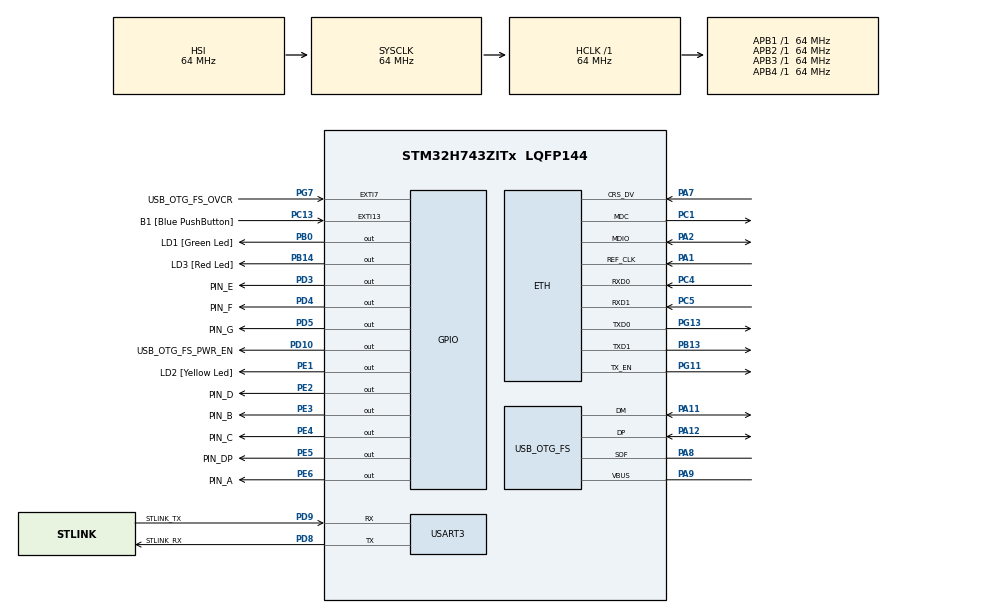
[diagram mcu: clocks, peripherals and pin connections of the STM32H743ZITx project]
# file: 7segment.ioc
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ETH.MediaInterface=HAL_ETH_RMII_MODE
Mcu.Family=STM32H7
Mcu.Name=STM32H743ZITx
Mcu.Package=LQFP144
NVIC.EXTI15_10_IRQn=true\:0\:0\:false\:false\:true\:true\:true\:true
NVIC.EXTI9_5_IRQn=true\:0\:0\:false\:false\:true\:true\:true\:true
NVIC.PriorityGroup=NVIC_PRIORITYGROUP_4
PA1.Mode=RMII
PA1.Signal=ETH_REF_CLK
PA11.Mode=Device_Only
PA11.Signal=USB_OTG_FS_DM
PA12.Mode=Device_Only
PA12.Signal=USB_OTG_FS_DP
PA2.Mode=RMII
PA2.Signal=ETH_MDIO
PA7.Mode=RMII
PA7.Signal=ETH_CRS_DV
PA8.Mode=Activate_SOF_FS
PA8.Signal=USB_OTG_FS_SOF
PA9.Mode=Activate_VBUS
PA9.Signal=USB_OTG_FS_VBUS
PB0.GPIO_Label=LD1 [Green Led]
PB0.Signal=GPIO_Output
PB13.Mode=RMII
PB13.Signal=ETH_TXD1
PB14.GPIO_Label=LD3 [Red Led]
PB14.Signal=GPIO_Output
PC1.Mode=RMII
PC1.Signal=ETH_MDC
PC13.GPIO_Label=B1 [Blue PushButton]
PC13.GPIO_ModeDefaultEXTI=GPIO_MODE_IT_FALLING
PC13.Signal=GPXTI13
PC14-OSC32_IN\ (OSC32_IN).Mode=LSE-External-Oscillator
PC14-OSC32_IN\ (OSC32_IN).Signal=RCC_OSC32_IN
PC15-OSC32_OUT\ (OSC32_OUT).Mode=LSE-External-Oscillator
PC15-OSC32_OUT\ (OSC32_OUT).Signal=RCC_OSC32_OUT
PC4.Mode=RMII
PC4.Signal=ETH_RXD0
PC5.Mode=RMII
PC5.Signal=ETH_RXD1
PD10.GPIO_Label=USB_OTG_FS_PWR_EN
PD10.Signal=GPIO_Output
PD3.GPIO_Label=PIN_E
PD3.Signal=GPIO_Output
PD4.GPIO_Label=PIN_F
PD4.Signal=GPIO_Output
PD5.GPIO_Label=PIN_G
PD5.Signal=GPIO_Output
PD8.GPIO_Label=STLINK_RX
PD8.Mode=Asynchronous
PD8.Signal=USART3_TX
PD9.GPIO_Label=STLINK_TX
PD9.Mode=Asynchronous
PD9.Signal=USART3_RX
PE1.GPIO_Label=LD2 [Yellow Led]
PE1.Signal=GPIO_Output
PE2.GPIO_Label=PIN_D
PE2.Signal=GPIO_Output
PE3.GPIO_Label=PIN_B
PE3.Signal=GPIO_Output
PE4.GPIO_Label=PIN_C
PE4.Signal=GPIO_Output
PE5.GPIO_Label=PIN_DP
PE5.Signal=GPIO_Output
PE6.GPIO_Label=PIN_A
PE6.Signal=GPIO_Output
PG11.Mode=RMII
PG11.Signal=ETH_TX_EN
PG13.Mode=RMII
PG13.Signal=ETH_TXD0
PG7.GPIO_Label=USB_OTG_FS_OVCR
PG7.Signal=GPXTI7
PH0-OSC_IN\ (PH0).Mode=HSE-External-Clock-Source
PH0-OSC_IN\ (PH0).Signal=RCC_OSC_IN
PH1-OSC_OUT\ (PH1).Signal=RCC_OSC_OUT
ProjectManager.HeapSize=0x200
ProjectManager.StackSize=0x400
ProjectManager.TargetToolchain=STM32CubeIDE
RCC.ADCFreq_Value=16125000
RCC.APB1Freq_Value=64000000
RCC.APB2Freq_Value=64000000
RCC.APB3Freq_Value=64000000
RCC.APB4Freq_Value=64000000
RCC.CortexFreq_Value=64000000
RCC.DIVM1=1
RCC.DIVN1=24
RCC.DIVQ1=4
RCC.HCLKFreq_Value=64000000
RCC.HSE_VALUE=8000000
RCC.PLLFRACN=0
RCC.PWR_Regulator_Voltage_Scale=PWR_REGULATOR_VOLTAGE_SCALE2
RCC.SYSCLKFreq_VALUE=64000000
RCC.USBFreq_Value=48000000
USART3.VirtualMode-Asynchronous=VM_ASYNC
USB_OTG_FS.VirtualMode=Device_Only
VP_MEMORYMAP_VS_MEMORYMAP.Mode=CurAppReg
board=NUCLEO-H743ZI2

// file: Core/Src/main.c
/* USER CODE BEGIN Header */
/**
  ******************************************************************************
  * @file           : main.c
  * @brief          : Main program body
  ******************************************************************************
  * @attention
  *
  * Copyright (c) 2024 STMicroelectronics.
  * All rights reserved.
  *
  * This software is licensed under terms that can be found in the LICENSE file
  * in the root directory of this software component.
  * If no LICENSE file comes with this software, it is provided AS-IS.
  *
  ******************************************************************************
  */
/* USER CODE END Header */
#include "main.h"
#include "string.h"

/* USER CODE BEGIN Includes */

//Pin connection
#define SEG_A_PIN GPIO_PIN_6
#define SEG_B_PIN GPIO_PIN_3
#define SEG_C_PIN GPIO_PIN_4
#define SEG_D_PIN GPIO_PIN_2
#define SEG_DP_PIN GPIO_PIN_5
#define SEG_E_PIN GPIO_PIN_3
#define SEG_F_PIN GPIO_PIN_4
#define SEG_G_PIN GPIO_PIN_5

//Used ports of STM32
#define SEG_GPIO_PORT_E GPIOE
#define SEG_GPIO_PORT_D GPIOD

//Binary map for each number 0-9
const uint8_t segmentMap[10] = {
    0b00111111, // 0
    0b00000110, // 1
    0b01011011, // 2
    0b01001111, // 3
    0b01100110, // 4
    0b01101101, // 5
    0b01111101, // 6
    0b00000111, // 7
    0b01111111, // 8
    0b01101111  // 9
};

//Number of B1 BluePush button press
uint8_t i = 0;

/* USER CODE END Includes */

#if defined ( __ICCARM__ ) /*!< IAR Compiler */
#pragma location=0x30000000
ETH_DMADescTypeDef  DMARxDscrTab[ETH_RX_DESC_CNT]; /* Ethernet Rx DMA Descriptors */
#pragma location=0x30000080
ETH_DMADescTypeDef  DMATxDscrTab[ETH_TX_DESC_CNT]; /* Ethernet Tx DMA Descriptors */

#elif defined ( __CC_ARM )  /* MDK ARM Compiler */

__attribute__((at(0x30000000))) ETH_DMADescTypeDef  DMARxDscrTab[ETH_RX_DESC_CNT]; /* Ethernet Rx DMA Descriptors */
__attribute__((at(0x30000080))) ETH_DMADescTypeDef  DMATxDscrTab[ETH_TX_DESC_CNT]; /* Ethernet Tx DMA Descriptors */

#elif defined ( __GNUC__ ) /* GNU Compiler */

ETH_DMADescTypeDef DMARxDscrTab[ETH_RX_DESC_CNT] __attribute__((section(".RxDecripSection"))); /* Ethernet Rx DMA Descriptors */
ETH_DMADescTypeDef DMATxDscrTab[ETH_TX_DESC_CNT] __attribute__((section(".TxDecripSection")));   /* Ethernet Tx DMA Descriptors */
#endif

ETH_TxPacketConfig TxConfig;

ETH_HandleTypeDef heth;

UART_HandleTypeDef huart3;

PCD_HandleTypeDef hpcd_USB_OTG_FS;

void SystemClock_Config(void);
static void MX_GPIO_Init(void);
static void MX_ETH_Init(void);
static void MX_USART3_UART_Init(void);
static void MX_USB_OTG_FS_PCD_Init(void);

/* USER CODE BEGIN 0 */

//Funtion for print the correct number
void displayNumber(uint8_t number) {
    if (number > 9) return;

    //In segments is right segment combination for the number.
    uint8_t segments = segmentMap[number];
    /*
     * (segments & 0x01) 	- mask
     * ? GPIO_PIN_SET		- if (segments & 0x01) is True (first bit in segments is 1) set pin to GPIO_PIN_SET
     * 						- if (segments & 0x01) is False (first bit in segments is 0) set pin to GPIO_PIN_RESET
     */
    HAL_GPIO_WritePin(SEG_GPIO_PORT_E, SEG_A_PIN, (segments & 0x01) ? GPIO_PIN_SET : GPIO_PIN_RESET);
    HAL_GPIO_WritePin(SEG_GPIO_PORT_E, SEG_B_PIN, (segments & 0x02) ? GPIO_PIN_SET : GPIO_PIN_RESET);
    HAL_GPIO_WritePin(SEG_GPIO_PORT_E, SEG_C_PIN, (segments & 0x04) ? GPIO_PIN_SET : GPIO_PIN_RESET);
    HAL_GPIO_WritePin(SEG_GPIO_PORT_E, SEG_D_PIN, (segments & 0x08) ? GPIO_PIN_SET : GPIO_PIN_RESET);
    HAL_GPIO_WritePin(SEG_GPIO_PORT_D, SEG_E_PIN, (segments & 0x10) ? GPIO_PIN_SET : GPIO_PIN_RESET);
    HAL_GPIO_WritePin(SEG_GPIO_PORT_D, SEG_F_PIN, (segments & 0x20) ? GPIO_PIN_SET : GPIO_PIN_RESET);
    HAL_GPIO_WritePin(SEG_GPIO_PORT_D, SEG_G_PIN, (segments & 0x40) ? GPIO_PIN_SET : GPIO_PIN_RESET);
}
/* USER CODE END 0 */

int main(void)
{

  /* MCU Configuration--------------------------------------------------------*/

  /* Reset of all peripherals, Initializes the Flash interface and the Systick. */
  HAL_Init();

  /* Configure the system clock */
  SystemClock_Config();

  /* Initialize all configured peripherals */
  MX_GPIO_Init();
  MX_ETH_Init();
  MX_USART3_UART_Init();
  MX_USB_OTG_FS_PCD_Init();

  /* Infinite loop */
  while (1)
  {
	  displayNumber(i);
	  HAL_Delay(500);
  }
}

void SystemClock_Config(void)
{
  RCC_OscInitTypeDef RCC_OscInitStruct = {0};
  RCC_ClkInitTypeDef RCC_ClkInitStruct = {0};

  /** Supply configuration update enable
  */
  HAL_PWREx_ConfigSupply(PWR_LDO_SUPPLY);

  /** Configure the main internal regulator output voltage
  */
  __HAL_PWR_VOLTAGESCALING_CONFIG(PWR_REGULATOR_VOLTAGE_SCALE2);

  while(!__HAL_PWR_GET_FLAG(PWR_FLAG_VOSRDY)) {}

  /** Initializes the RCC Oscillators according to the specified parameters
  * in the RCC_OscInitTypeDef structure.
  */
  RCC_OscInitStruct.OscillatorType = RCC_OSCILLATORTYPE_HSI|RCC_OSCILLATORTYPE_HSE;
  RCC_OscInitStruct.HSEState = RCC_HSE_BYPASS;
  RCC_OscInitStruct.HSIState = RCC_HSI_DIV1;
  RCC_OscInitStruct.HSICalibrationValue = RCC_HSICALIBRATION_DEFAULT;
  RCC_OscInitStruct.PLL.PLLState = RCC_PLL_ON;
  RCC_OscInitStruct.PLL.PLLSource = RCC_PLLSOURCE_HSE;
  RCC_OscInitStruct.PLL.PLLM = 1;
  RCC_OscInitStruct.PLL.PLLN = 24;
  RCC_OscInitStruct.PLL.PLLP = 2;
  RCC_OscInitStruct.PLL.PLLQ = 4;
  RCC_OscInitStruct.PLL.PLLR = 2;
  RCC_OscInitStruct.PLL.PLLRGE = RCC_PLL1VCIRANGE_3;
  RCC_OscInitStruct.PLL.PLLVCOSEL = RCC_PLL1VCOWIDE;
  RCC_OscInitStruct.PLL.PLLFRACN = 0;
  if (HAL_RCC_OscConfig(&RCC_OscInitStruct) != HAL_OK)
  {
    Error_Handler();
  }

  /** Initializes the CPU, AHB and APB buses clocks
  */
  RCC_ClkInitStruct.ClockType = RCC_CLOCKTYPE_HCLK|RCC_CLOCKTYPE_SYSCLK
                              |RCC_CLOCKTYPE_PCLK1|RCC_CLOCKTYPE_PCLK2
                              |RCC_CLOCKTYPE_D3PCLK1|RCC_CLOCKTYPE_D1PCLK1;
  RCC_ClkInitStruct.SYSCLKSource = RCC_SYSCLKSOURCE_HSI;
  RCC_ClkInitStruct.SYSCLKDivider = RCC_SYSCLK_DIV1;
  RCC_ClkInitStruct.AHBCLKDivider = RCC_HCLK_DIV1;
  RCC_ClkInitStruct.APB3CLKDivider = RCC_APB3_DIV1;
  RCC_ClkInitStruct.APB1CLKDivider = RCC_APB1_DIV1;
  RCC_ClkInitStruct.APB2CLKDivider = RCC_APB2_DIV1;
  RCC_ClkInitStruct.APB4CLKDivider = RCC_APB4_DIV1;

  if (HAL_RCC_ClockConfig(&RCC_ClkInitStruct, FLASH_LATENCY_1) != HAL_OK)
  {
    Error_Handler();
  }
}

static void MX_ETH_Init(void)
{

   static uint8_t MACAddr[6];

  heth.Instance = ETH;
  MACAddr[0] = 0x00;
  MACAddr[1] = 0x80;
  MACAddr[2] = 0xE1;
  MACAddr[3] = 0x00;
  MACAddr[4] = 0x00;
  MACAddr[5] = 0x00;
  heth.Init.MACAddr = &MACAddr[0];
  heth.Init.MediaInterface = HAL_ETH_RMII_MODE;
  heth.Init.TxDesc = DMATxDscrTab;
  heth.Init.RxDesc = DMARxDscrTab;
  heth.Init.RxBuffLen = 1524;

  if (HAL_ETH_Init(&heth) != HAL_OK)
  {
    Error_Handler();
  }

  memset(&TxConfig, 0 , sizeof(ETH_TxPacketConfig));
  TxConfig.Attributes = ETH_TX_PACKETS_FEATURES_CSUM | ETH_TX_PACKETS_FEATURES_CRCPAD;
  TxConfig.ChecksumCtrl = ETH_CHECKSUM_IPHDR_PAYLOAD_INSERT_PHDR_CALC;
  TxConfig.CRCPadCtrl = ETH_CRC_PAD_INSERT;

}

static void MX_USART3_UART_Init(void)
{

  huart3.Instance = USART3;
  huart3.Init.BaudRate = 115200;
  huart3.Init.WordLength = UART_WORDLENGTH_8B;
  huart3.Init.StopBits = UART_STOPBITS_1;
  huart3.Init.Parity = UART_PARITY_NONE;
  huart3.Init.Mode = UART_MODE_TX_RX;
  huart3.Init.HwFlowCtl = UART_HWCONTROL_NONE;
  huart3.Init.OverSampling = UART_OVERSAMPLING_16;
  huart3.Init.OneBitSampling = UART_ONE_BIT_SAMPLE_DISABLE;
  huart3.Init.ClockPrescaler = UART_PRESCALER_DIV1;
  huart3.AdvancedInit.AdvFeatureInit = UART_ADVFEATURE_NO_INIT;
  if (HAL_UART_Init(&huart3) != HAL_OK)
  {
    Error_Handler();
  }
  if (HAL_UARTEx_SetTxFifoThreshold(&huart3, UART_TXFIFO_THRESHOLD_1_8) != HAL_OK)
  {
    Error_Handler();
  }
  if (HAL_UARTEx_SetRxFifoThreshold(&huart3, UART_RXFIFO_THRESHOLD_1_8) != HAL_OK)
  {
    Error_Handler();
  }
  if (HAL_UARTEx_DisableFifoMode(&huart3) != HAL_OK)
  {
    Error_Handler();
  }

}

static void MX_USB_OTG_FS_PCD_Init(void)
{

  hpcd_USB_OTG_FS.Instance = USB_OTG_FS;
  hpcd_USB_OTG_FS.Init.dev_endpoints = 9;
  hpcd_USB_OTG_FS.Init.speed = PCD_SPEED_FULL;
  hpcd_USB_OTG_FS.Init.dma_enable = DISABLE;
  hpcd_USB_OTG_FS.Init.phy_itface = PCD_PHY_EMBEDDED;
  hpcd_USB_OTG_FS.Init.Sof_enable = ENABLE;
  hpcd_USB_OTG_FS.Init.low_power_enable = DISABLE;
  hpcd_USB_OTG_FS.Init.lpm_enable = DISABLE;
  hpcd_USB_OTG_FS.Init.battery_charging_enable = ENABLE;
  hpcd_USB_OTG_FS.Init.vbus_sensing_enable = ENABLE;
  hpcd_USB_OTG_FS.Init.use_dedicated_ep1 = DISABLE;
  if (HAL_PCD_Init(&hpcd_USB_OTG_FS) != HAL_OK)
  {
    Error_Handler();
  }

}

static void MX_GPIO_Init(void)
{
  GPIO_InitTypeDef GPIO_InitStruct = {0};

  /* GPIO Ports Clock Enable */
  __HAL_RCC_GPIOE_CLK_ENABLE();
  __HAL_RCC_GPIOC_CLK_ENABLE();
  __HAL_RCC_GPIOH_CLK_ENABLE();
  __HAL_RCC_GPIOA_CLK_ENABLE();
  __HAL_RCC_GPIOB_CLK_ENABLE();
  __HAL_RCC_GPIOD_CLK_ENABLE();
  __HAL_RCC_GPIOG_CLK_ENABLE();

  /*Configure GPIO pin Output Level */
  HAL_GPIO_WritePin(GPIOE, PIN_D_Pin|PIN_B_Pin|PIN_C_Pin|PIN_DP_Pin
                          |PIN_A_Pin|LD2_Pin, GPIO_PIN_RESET);

  /*Configure GPIO pin Output Level */
  HAL_GPIO_WritePin(GPIOB, LD1_Pin|LD3_Pin, GPIO_PIN_RESET);

  /*Configure GPIO pin Output Level */
  HAL_GPIO_WritePin(GPIOD, USB_OTG_FS_PWR_EN_Pin|PIN_E_Pin|PIN_F_Pin|PIN_G_Pin, GPIO_PIN_RESET);

  /*Configure GPIO pins : PIN_D_Pin PIN_B_Pin PIN_C_Pin PIN_DP_Pin
                           PIN_A_Pin LD2_Pin */
  GPIO_InitStruct.Pin = PIN_D_Pin|PIN_B_Pin|PIN_C_Pin|PIN_DP_Pin
                          |PIN_A_Pin|LD2_Pin;
  GPIO_InitStruct.Mode = GPIO_MODE_OUTPUT_PP;
  GPIO_InitStruct.Pull = GPIO_NOPULL;
  GPIO_InitStruct.Speed = GPIO_SPEED_FREQ_LOW;
  HAL_GPIO_Init(GPIOE, &GPIO_InitStruct);

  /*Configure GPIO pin : B1_Pin */
  GPIO_InitStruct.Pin = B1_Pin;
  GPIO_InitStruct.Mode = GPIO_MODE_IT_FALLING;
  GPIO_InitStruct.Pull = GPIO_NOPULL;
  HAL_GPIO_Init(B1_GPIO_Port, &GPIO_InitStruct);

  /*Configure GPIO pins : LD1_Pin LD3_Pin */
  GPIO_InitStruct.Pin = LD1_Pin|LD3_Pin;
  GPIO_InitStruct.Mode = GPIO_MODE_OUTPUT_PP;
  GPIO_InitStruct.Pull = GPIO_NOPULL;
  GPIO_InitStruct.Speed = GPIO_SPEED_FREQ_LOW;
  HAL_GPIO_Init(GPIOB, &GPIO_InitStruct);

  /*Configure GPIO pins : USB_OTG_FS_PWR_EN_Pin PIN_E_Pin PIN_F_Pin PIN_G_Pin */
  GPIO_InitStruct.Pin = USB_OTG_FS_PWR_EN_Pin|PIN_E_Pin|PIN_F_Pin|PIN_G_Pin;
  GPIO_InitStruct.Mode = GPIO_MODE_OUTPUT_PP;
  GPIO_InitStruct.Pull = GPIO_NOPULL;
  GPIO_InitStruct.Speed = GPIO_SPEED_FREQ_LOW;
  HAL_GPIO_Init(GPIOD, &GPIO_InitStruct);

  /*Configure GPIO pin : USB_OTG_FS_OVCR_Pin */
  GPIO_InitStruct.Pin = USB_OTG_FS_OVCR_Pin;
  GPIO_InitStruct.Mode = GPIO_MODE_IT_RISING;
  GPIO_InitStruct.Pull = GPIO_NOPULL;
  HAL_GPIO_Init(USB_OTG_FS_OVCR_GPIO_Port, &GPIO_InitStruct);

  /* EXTI interrupt init*/
  HAL_NVIC_SetPriority(EXTI9_5_IRQn, 0, 0);
  HAL_NVIC_EnableIRQ(EXTI9_5_IRQn);

  HAL_NVIC_SetPriority(EXTI15_10_IRQn, 0, 0);
  HAL_NVIC_EnableIRQ(EXTI15_10_IRQn);

}

/* USER CODE BEGIN 4 */
void HAL_GPIO_EXTI_Callback(uint16_t GPIO_Pin)
{
  if(GPIO_Pin == GPIO_PIN_13)
  {
    if(i < 9)
    {
    	i++;
    }
    else
    {
        i = 0;
    }
  }
  else
  {
    __NOP();
  }
}
/* USER CODE END 4 */

void Error_Handler(void)
{
  __disable_irq();
  while (1)
  {
  }
}
